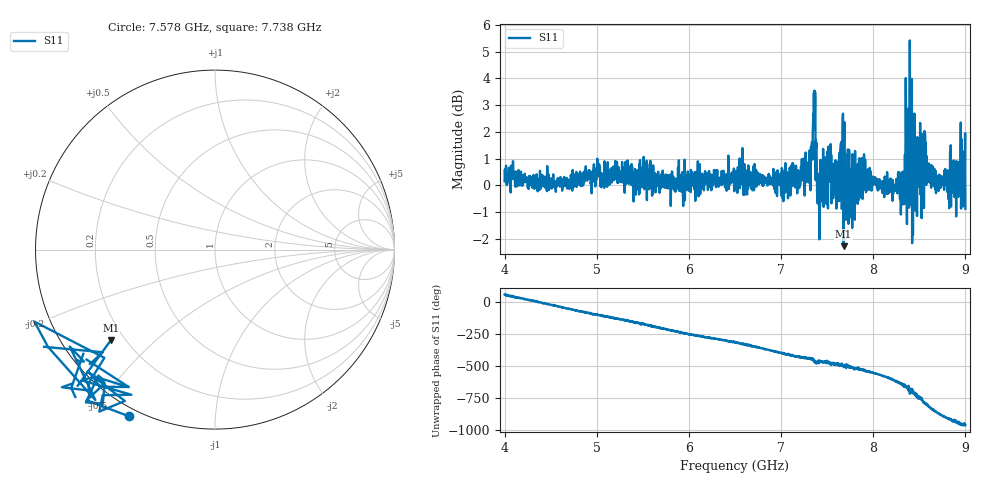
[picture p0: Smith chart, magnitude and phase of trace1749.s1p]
! Created with skrf 1.8.0 (http://scikit-rf.org).
# Hz S RI R 50.0
!freq ReS11 ImS11
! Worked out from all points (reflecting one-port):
!   1601 points, 4 GHz to 9 GHz, reference 50 ohm
!   lowest |S11| = -2.3 dB at 7.678 GHz (marker M1), VSWR 7.70, Z = 7.38 - j18.4 ohm
!   phase of S11 starts at 54 deg and turns -1016 deg over the sweep
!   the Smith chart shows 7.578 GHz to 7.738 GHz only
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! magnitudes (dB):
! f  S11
! 4 GHz  0.2
! 4.625 GHz  -0.2
! 5.25 GHz  0.1
! 5.875 GHz  0.1
! 6.5 GHz  0.0
! 7.125 GHz  0.8
! 7.294 GHz  0.5
! 7.319 GHz  -0.2
! 7.347 GHz  2.4
! 7.369 GHz  3.5
! 7.4 GHz  -0.1
! 7.412 GHz  -0.6
! 7.519 GHz  1.0
! 7.609 GHz  0.3
! 7.662 GHz  -0.5
! 7.678 GHz  -2.3
! 7.75 GHz  -0.6
! 7.769 GHz  -1.1
! 7.822 GHz  -0.1
! 7.891 GHz  0.3
! 8.312 GHz  -0.3
! 8.375 GHz  0.3
! 8.447 GHz  2.7
! 8.522 GHz  1.4
! 8.612 GHz  0.3
! 8.812 GHz  0.3
! 8.972 GHz  0.0
! 9 GHz  -0.9
